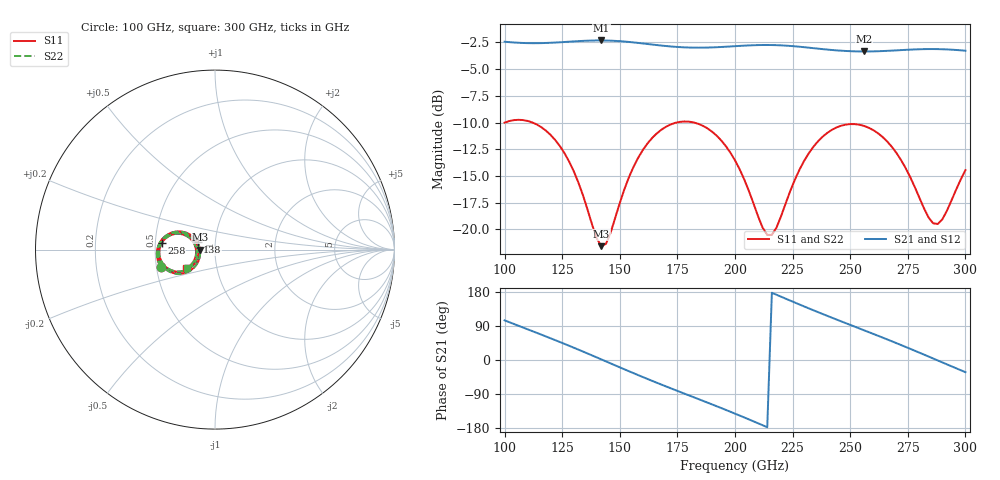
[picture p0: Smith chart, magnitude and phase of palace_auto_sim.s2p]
#  GHZ S DB R 50
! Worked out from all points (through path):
!   101 points, 100 GHz to 300 GHz, reference 50 ohm
!   highest |S21| = -2.33 dB at 142 GHz (marker M1); lowest = -3.4 dB at 256 GHz (marker M2)
!   group delay of S21, straight-line fit = 6.9 ps
!   lowest |S11| = -21.6 dB at 142 GHz (marker M3), VSWR 1.18, Z = 42.3 - j0.0823 ohm
!   |S11| at or under -10 dB: start of sweep to 100.166 GHz; 112.1 GHz to 174.7 GHz (62.64 GHz wide, 43.7 % of centre); 182.2 GHz to end of sweep
!   |S22| runs from -21.5 to -9.7 dB; largest |S21 - S12| = 8.6e-14
!   S11 on the Smith chart (normalised r, x): 100 GHz: 0.53, -0.12; 138 GHz: 0.82, +0.07; 258 GHz: 0.54, +0.04; 300 GHz: 0.71, -0.15
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100  -10.01 -161.9  -2.44 104.7  -2.44 104.7  -10.01 -161.8
118  -10.77 165.4  -2.56 62.0  -2.56 62.0  -10.77 165.6
126  -12.87 153.4  -2.47 42.5  -2.47 42.5  -12.86 153.6
134  -16.79 149.4  -2.37 22.3  -2.37 22.3  -16.79 149.6
138  -19.56 157.5  -2.34 12.0  -2.34 12.0  -19.55 157.7
142  -21.56 -179.3  -2.33 1.6  -2.33 1.6  -21.54 -179.2
154  -15.10 -139.5  -2.47 -29.7  -2.47 -29.7  -15.09 -139.4
168  -10.68 -157.3  -2.80 -64.7  -2.80 -64.7  -10.67 -157.1
184  -10.12 175.3  -3.00 -102.8  -3.00 -102.8  -10.10 175.6
200  -13.54 152.6  -2.86 -141.5  -2.86 -141.5  -13.50 153.2
212  -19.83 166.7  -2.75 -172.1  -2.75 -172.1  -19.66 167.2
216  -20.50 -170.2  -2.76 177.4  -2.76 177.4  -20.30 -170.4
224  -16.40 -144.2  -2.84 156.7  -2.84 156.7  -16.33 -144.8
234  -12.28 -149.6  -3.05 131.3  -3.05 131.3  -12.26 -150.1
244  -10.47 -164.4  -3.25 107.0  -3.25 107.0  -10.46 -164.7
256  -10.32 176.3  -3.36 78.4  -3.36 78.4  -10.32 176.1
258  -10.48 173.2  -3.36 73.7  -3.36 73.7  -10.48 172.9
268  -12.25 159.4  -3.28 49.6  -3.28 49.6  -12.26 159.1
278  -16.02 155.3  -3.17 24.6  -3.17 24.6  -16.06 154.9
286  -19.42 177.6  -3.13 4.0  -3.13 4.0  -19.54 177.5
290  -19.04 -163.3  -3.15 -6.4  -3.15 -6.4  -19.15 -163.0
300  -14.45 -147.0  -3.29 -32.1  -3.29 -32.1  -14.48 -146.6
